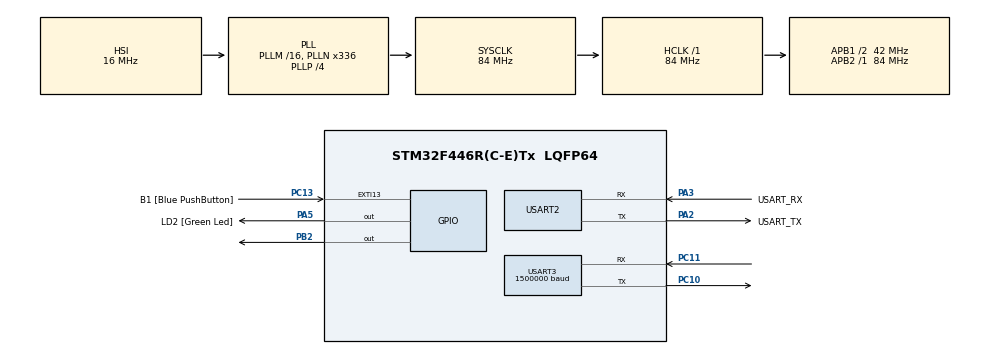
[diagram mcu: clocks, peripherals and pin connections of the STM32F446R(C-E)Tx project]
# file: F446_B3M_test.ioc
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Mcu.Family=STM32F4
Mcu.Name=STM32F446R(C-E)Tx
Mcu.Package=LQFP64
NVIC.PriorityGroup=NVIC_PRIORITYGROUP_0
PA13.GPIO_Label=TMS
PA13.Mode=Serial_Wire
PA13.Signal=SYS_JTMS-SWDIO
PA14.GPIO_Label=TCK
PA14.Mode=Serial_Wire
PA14.Signal=SYS_JTCK-SWCLK
PA2.GPIO_Label=USART_TX
PA2.Mode=Asynchronous
PA2.Signal=USART2_TX
PA3.GPIO_Label=USART_RX
PA3.Mode=Asynchronous
PA3.Signal=USART2_RX
PA5.GPIO_Label=LD2 [Green Led]
PA5.Signal=GPIO_Output
PB2.Signal=GPIO_Output
PB3.GPIO_Label=SWO
PB3.Signal=SYS_JTDO-SWO
PC10.Mode=Asynchronous
PC10.Signal=USART3_TX
PC11.Mode=Asynchronous
PC11.Signal=USART3_RX
PC13.GPIO_Label=B1 [Blue PushButton]
PC13.GPIO_ModeDefaultEXTI=GPIO_MODE_IT_FALLING
PC13.Signal=GPXTI13
PC14-OSC32_IN.Mode=LSE-External-Oscillator
PC14-OSC32_IN.Signal=RCC_OSC32_IN
PC15-OSC32_OUT.Mode=LSE-External-Oscillator
PC15-OSC32_OUT.Signal=RCC_OSC32_OUT
PH0-OSC_IN.Mode=HSE-External-Oscillator
PH0-OSC_IN.Signal=RCC_OSC_IN
PH1-OSC_OUT.Mode=HSE-External-Oscillator
PH1-OSC_OUT.Signal=RCC_OSC_OUT
ProjectManager.HeapSize=0x200
ProjectManager.StackSize=0x400
ProjectManager.TargetToolchain=STM32CubeIDE
RCC.48MHZClocksFreq_Value=84000000
RCC.AHBFreq_Value=84000000
RCC.APB1CLKDivider=RCC_HCLK_DIV2
RCC.APB1Freq_Value=42000000
RCC.APB1TimFreq_Value=84000000
RCC.APB2Freq_Value=84000000
RCC.APB2TimFreq_Value=84000000
RCC.CortexFreq_Value=84000000
RCC.FLatency-AdvancedSettings=FLASH_LATENCY_2
RCC.HCLKFreq_Value=84000000
RCC.HSE_VALUE=8000000
RCC.HSI_VALUE=16000000
RCC.PLLN=336
RCC.PLLP=RCC_PLLP_DIV4
RCC.SYSCLKFreq_VALUE=84000000
RCC.SYSCLKSource=RCC_SYSCLKSOURCE_PLLCLK
RCC.USBFreq_Value=168000000
RCC.VCOOutputFreq_Value=336000000
USART2.VirtualMode=VM_ASYNC
USART3.BaudRate=1500000
USART3.VirtualMode=VM_ASYNC
board=NUCLEO-F446RE

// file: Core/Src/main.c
/* USER CODE BEGIN Header */
/**
  ******************************************************************************
  * @file           : main.c
  * @brief          : Main program body
  ******************************************************************************
  * @attention
  *
  * <h2><center>&copy; Copyright (c) 2021 STMicroelectronics.
  * All rights reserved.</center></h2>
  *
  * This software component is licensed by ST under BSD 3-Clause license,
  * the "License"; You may not use this file except in compliance with the
  * License. You may obtain a copy of the License at:
  *                        opensource.org/licenses/BSD-3-Clause
  *
  ******************************************************************************
  */
/* USER CODE END Header */
#include "main.h"

UART_HandleTypeDef huart2;
UART_HandleTypeDef huart3;

void SystemClock_Config(void);
static void MX_GPIO_Init(void);
static void MX_USART2_UART_Init(void);
static void MX_USART3_UART_Init(void);

int main(void)
{

  /* MCU Configuration--------------------------------------------------------*/

  /* Reset of all peripherals, Initializes the Flash interface and the Systick. */
  HAL_Init();

  /* Configure the system clock */
  SystemClock_Config();

  /* Initialize all configured peripherals */
  MX_GPIO_Init();
  MX_USART2_UART_Init();
  MX_USART3_UART_Init();
  /* USER CODE BEGIN 2 */

  char rxbuf[]="waiting\r\n";
  uint8_t txdata[20] = {0};
  unsigned char rxdata[9] = {0};
  uint8_t aRxBuffer[10]={0};
  char PC_txdata[256]={'なんでもいいからおくって\0'};
  short pos_data;

  void pos(unsigned char id,short deg,unsigned short time)
  {
      unsigned char deg_l = (unsigned char)(deg)&0x00FF;
      unsigned char deg_h = (unsigned char)(deg>>8)&0x00FF;
      unsigned char time_l = (unsigned char)(time)&0x00FF;
      unsigned char time_h = (unsigned char)(time>>8)&0x00FF;
      unsigned char sum = (0x09+0x06+id+deg_l+deg_h+time_l+time_h)&0x00FF;

      HAL_GPIO_WritePin(GPIOB, GPIO_PIN_2, 1);
      txdata[0]=0x09;   //1 SIZE
      txdata[1]=0x06;   //2 COMMAND
      txdata[2]=0x00;   //3 OPTION
      txdata[3]=id;     //4 ID
      txdata[4]=deg_l;  //5 POS_L
      txdata[5]=deg_h;  //6 POS_H
      txdata[6]=time_l; //7 TIME_L
      txdata[7]=time_h; //8 TIME_H
      txdata[8]=sum;    //9 SUM
      HAL_UART_Transmit(&huart3, txdata, 9, 0xFFFF);
      HAL_GPIO_WritePin(GPIOB, GPIO_PIN_2, 0);
      HAL_Delay(0.3);
  }
/*    void pos_multi(unsigned char id,short deg,unsigned char id2,short deg2,unsigned short time)
  {
      unsigned char deg_l = (unsigned char)(deg)&0x00FF;
      unsigned char deg_h = (unsigned char)(deg>>8)&0x00FF;
      unsigned char deg2_l = (unsigned char)(deg2)&0x00FF;
      unsigned char deg2_h = (unsigned char)(deg2>>8)&0x00FF;
      unsigned char time_l = (unsigned char)(time)&0x00FF;
      unsigned char time_h = (unsigned char)(time>>8)&0x00FF;
      unsigned char sum = (0x09+0x06+id+deg_l+deg_h+id2+deg2_l+deg2_h+time_l+time_h)&0x00FF;
      txdata[0]=0x09;   //1 SIZE
      txdata[1]=0x06;   //2 COMMAND
      txdata[2]=0x00;   //3 OPTION
      txdata[3]=id;     //4 ID
      txdata[4]=deg_l;  //5 POS_L
      txdata[5]=deg_h;  //6 POS_H
      txdata[6]=id2;     //4 ID2
      txdata[7]=deg2_l;  //5 POS2_L
      txdata[8]=deg2_h;  //6 POS2_H
      txdata[9]=time_l; //7 TIME_L
      txdata[10]=time_h; //8 TIME_H
      txdata[11]=sum;    //9 SUM
      HAL_Delay(0.03);
  }*/

    void speed(unsigned char id,short speed)
    {
        unsigned char speed_l = (unsigned char)(speed)&0x00FF;
        unsigned char speed_h = (unsigned char)(speed>>8)&0x00FF;
        unsigned char sum = (0x09+0x04+0x00+id+speed_l+speed_h+0x30+0x01)&0x00FF;

        HAL_GPIO_WritePin(GPIOB, GPIO_PIN_2, 1);

        txdata[0]=0x09;//SIZE
        txdata[1]=0x04;//COMMAND
        txdata[2]=0x00;//OPTION
        txdata[3]=id;//ID
        txdata[4]=speed_l;//SPEED_LOWBYTE
        txdata[5]=speed_h;//SPEED_HIGHBYTE
        txdata[6]=0x30;//ADRESS(SPEED 0x03)
        txdata[7]=0x01;//COUNT
        txdata[8]=sum;//SUM
        HAL_UART_Transmit(&huart3, txdata, 9, 0xFFFF);
        HAL_GPIO_WritePin(GPIOB, GPIO_PIN_2, 1);
        HAL_Delay(1);
    }

    void write(unsigned char id,unsigned char data,unsigned char adress)
    {
        unsigned char sum = (0x08+0x04+0x00+id+data+adress+0x01)&0x00FF;
        HAL_GPIO_WritePin(GPIOB, GPIO_PIN_2, 1);
       txdata[0]=0x08;   //1 SIZE
       txdata[1]=0x04;   //2 COMMAND
       txdata[2]=0x00;   //3 OPTION
       txdata[3]=id;     //4 ID
       txdata[4]=data;  //DATA
       txdata[5]=adress;  //ADRESS
       txdata[6]=0x01; //COUNT
       txdata[7]=sum;    //9 SUM
       HAL_UART_Transmit(&huart3, txdata, 8, 0xFFFF);

       HAL_GPIO_WritePin(GPIOB, GPIO_PIN_2, 0);
       HAL_Delay(1);

    }

  /* USER CODE END 2 */

  /* Infinite loop */
  while (1)
  {

    /* USER CODE BEGIN 3 */
	  write(0xFF,0x00,0x28);
	  write(0xFF,0x01,0x29);

//	  while(1){
//		  HAL_UART_Transmit(&huart2, (uint8_t*)rxbuf,sizeof(rxbuf),0xFFFF);
//		  HAL_UART_Receive(&huart2,rxdata,10,0x100);
//		  write(0xFF,0x00,0x28);
//		  write(0xFF,0x01,0x29);
//		  if(rxdata[0]!=0){
//			  break;
//		  }
//	  }
//	  rxdata[0]=0;

//pos test
	  pos(1,0,2000);
	  HAL_Delay(2000);
	  pos(1,10000,2000);
	  HAL_Delay(2000);

//speed test
      write(0x01,0x04,0x28);
      speed(1,15000);
      HAL_Delay(10000);

  }
  /* USER CODE END 3 */
}

void SystemClock_Config(void)
{
  RCC_OscInitTypeDef RCC_OscInitStruct = {0};
  RCC_ClkInitTypeDef RCC_ClkInitStruct = {0};

  /** Configure the main internal regulator output voltage
  */
  __HAL_RCC_PWR_CLK_ENABLE();
  __HAL_PWR_VOLTAGESCALING_CONFIG(PWR_REGULATOR_VOLTAGE_SCALE3);
  /** Initializes the RCC Oscillators according to the specified parameters
  * in the RCC_OscInitTypeDef structure.
  */
  RCC_OscInitStruct.OscillatorType = RCC_OSCILLATORTYPE_HSI;
  RCC_OscInitStruct.HSIState = RCC_HSI_ON;
  RCC_OscInitStruct.HSICalibrationValue = RCC_HSICALIBRATION_DEFAULT;
  RCC_OscInitStruct.PLL.PLLState = RCC_PLL_ON;
  RCC_OscInitStruct.PLL.PLLSource = RCC_PLLSOURCE_HSI;
  RCC_OscInitStruct.PLL.PLLM = 16;
  RCC_OscInitStruct.PLL.PLLN = 336;
  RCC_OscInitStruct.PLL.PLLP = RCC_PLLP_DIV4;
  RCC_OscInitStruct.PLL.PLLQ = 2;
  RCC_OscInitStruct.PLL.PLLR = 2;
  if (HAL_RCC_OscConfig(&RCC_OscInitStruct) != HAL_OK)
  {
    Error_Handler();
  }
  /** Initializes the CPU, AHB and APB buses clocks
  */
  RCC_ClkInitStruct.ClockType = RCC_CLOCKTYPE_HCLK|RCC_CLOCKTYPE_SYSCLK
                              |RCC_CLOCKTYPE_PCLK1|RCC_CLOCKTYPE_PCLK2;
  RCC_ClkInitStruct.SYSCLKSource = RCC_SYSCLKSOURCE_PLLCLK;
  RCC_ClkInitStruct.AHBCLKDivider = RCC_SYSCLK_DIV1;
  RCC_ClkInitStruct.APB1CLKDivider = RCC_HCLK_DIV2;
  RCC_ClkInitStruct.APB2CLKDivider = RCC_HCLK_DIV1;

  if (HAL_RCC_ClockConfig(&RCC_ClkInitStruct, FLASH_LATENCY_2) != HAL_OK)
  {
    Error_Handler();
  }
}

static void MX_USART2_UART_Init(void)
{

  huart2.Instance = USART2;
  huart2.Init.BaudRate = 115200;
  huart2.Init.WordLength = UART_WORDLENGTH_8B;
  huart2.Init.StopBits = UART_STOPBITS_1;
  huart2.Init.Parity = UART_PARITY_NONE;
  huart2.Init.Mode = UART_MODE_TX_RX;
  huart2.Init.HwFlowCtl = UART_HWCONTROL_NONE;
  huart2.Init.OverSampling = UART_OVERSAMPLING_16;
  if (HAL_UART_Init(&huart2) != HAL_OK)
  {
    Error_Handler();
  }

}

static void MX_USART3_UART_Init(void)
{

  huart3.Instance = USART3;
  huart3.Init.BaudRate = 1500000;
  huart3.Init.WordLength = UART_WORDLENGTH_8B;
  huart3.Init.StopBits = UART_STOPBITS_1;
  huart3.Init.Parity = UART_PARITY_NONE;
  huart3.Init.Mode = UART_MODE_TX_RX;
  huart3.Init.HwFlowCtl = UART_HWCONTROL_NONE;
  huart3.Init.OverSampling = UART_OVERSAMPLING_16;
  if (HAL_UART_Init(&huart3) != HAL_OK)
  {
    Error_Handler();
  }

}

static void MX_GPIO_Init(void)
{
  GPIO_InitTypeDef GPIO_InitStruct = {0};

  /* GPIO Ports Clock Enable */
  __HAL_RCC_GPIOC_CLK_ENABLE();
  __HAL_RCC_GPIOH_CLK_ENABLE();
  __HAL_RCC_GPIOA_CLK_ENABLE();
  __HAL_RCC_GPIOB_CLK_ENABLE();

  /*Configure GPIO pin Output Level */
  HAL_GPIO_WritePin(LD2_GPIO_Port, LD2_Pin, GPIO_PIN_RESET);

  /*Configure GPIO pin Output Level */
  HAL_GPIO_WritePin(GPIOB, GPIO_PIN_2, GPIO_PIN_RESET);

  /*Configure GPIO pin : B1_Pin */
  GPIO_InitStruct.Pin = B1_Pin;
  GPIO_InitStruct.Mode = GPIO_MODE_IT_FALLING;
  GPIO_InitStruct.Pull = GPIO_NOPULL;
  HAL_GPIO_Init(B1_GPIO_Port, &GPIO_InitStruct);

  /*Configure GPIO pin : LD2_Pin */
  GPIO_InitStruct.Pin = LD2_Pin;
  GPIO_InitStruct.Mode = GPIO_MODE_OUTPUT_PP;
  GPIO_InitStruct.Pull = GPIO_NOPULL;
  GPIO_InitStruct.Speed = GPIO_SPEED_FREQ_LOW;
  HAL_GPIO_Init(LD2_GPIO_Port, &GPIO_InitStruct);

  /*Configure GPIO pin : PB2 */
  GPIO_InitStruct.Pin = GPIO_PIN_2;
  GPIO_InitStruct.Mode = GPIO_MODE_OUTPUT_PP;
  GPIO_InitStruct.Pull = GPIO_NOPULL;
  GPIO_InitStruct.Speed = GPIO_SPEED_FREQ_LOW;
  HAL_GPIO_Init(GPIOB, &GPIO_InitStruct);

}

void Error_Handler(void)
{
  __disable_irq();
  while (1)
  {
  }
}

/************************ (C) COPYRIGHT STMicroelectronics *****END OF FILE****/
